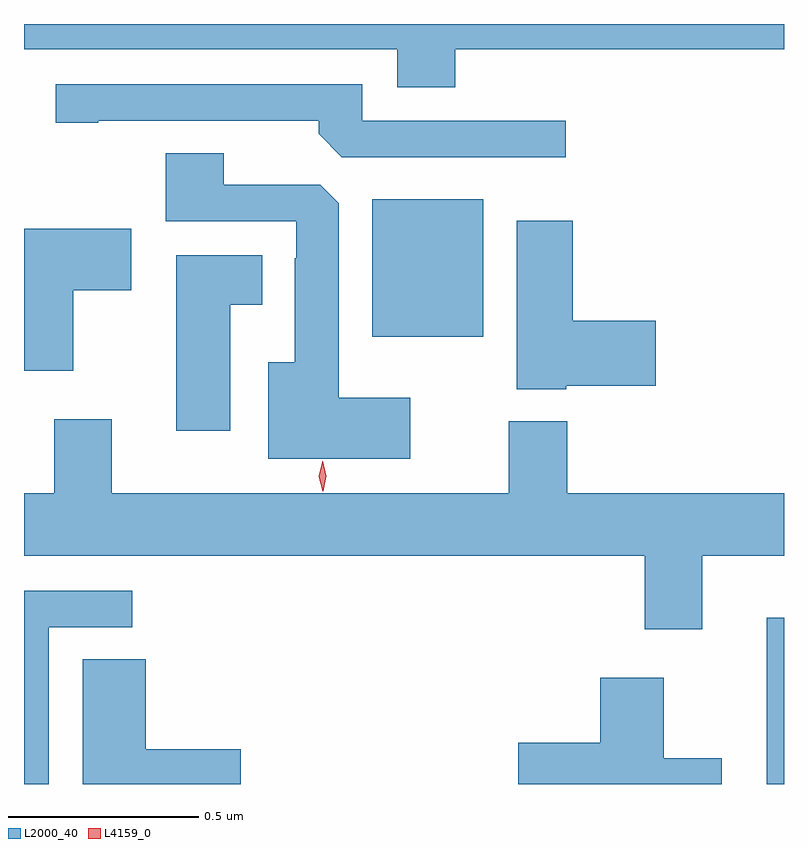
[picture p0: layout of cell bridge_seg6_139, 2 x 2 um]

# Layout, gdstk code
import gdstk
lib = gdstk.Library(unit=1e-6, precision=1e-09)
def R(c, l, rs):  # rectangles x0, y0, x1, y1
    for r in rs: c.add(gdstk.rectangle(r[:2], r[2:], *l))
def P(c, l, *ps):  # polygons
    for p in ps: c.add(gdstk.Polygon(p, *l))
L2000_40 = (2000, 40)
L4159_0 = (4159, 0)

bridge_seg6_139 = lib.new_cell('bridge_seg6_139')
R(bridge_seg6_139, L2000_40, [(420.419,966.715,420.465,967.153), (419.381,967.892,419.674,968.254)])
P(bridge_seg6_139, L2000_40, [(419.6,968.648),(420.465,968.648),(420.465,968.715),(418.465,968.715),(418.465,968.648),(419.447,968.648),(419.447,968.549),(419.6,968.549)],
  [(419.89,968.46),(419.355,968.46),(419.355,968.556),(418.548,968.556),(418.548,968.455),(418.66,968.455),(418.66,968.46),(419.24,968.46),(419.24,968.426),(419.301,968.364),(419.89,968.364)],
  [(419.482,967.732),(419.293,967.732),(419.293,968.243),(419.244,968.292),(418.99,968.292),(418.99,968.375),(418.838,968.375),(418.838,968.196),(419.181,968.196),(419.181,968.099),(419.177,968.099),(419.177,967.825),(419.108,967.825),(419.108,967.571),(419.482,967.571)],
  [(419.892,967.763),(420.127,967.763),(420.127,967.934),(419.909,967.934),(419.909,968.197),(419.762,968.197),(419.762,967.754),(419.892,967.754)],
  [(418.594,968.014),(418.747,968.014),(418.747,968.176),(418.465,968.176),(418.465,967.803),(418.594,967.803)],
  [(419.008,967.976),(419.092,967.976),(419.092,968.107),(418.865,968.107),(418.865,967.644),(419.008,967.644)],
  [(420.25,967.316),(420.465,967.316),(420.465,967.48),(419.894,967.48),(419.894,967.669),(419.741,967.669),(419.741,967.48),(418.696,967.48),(418.696,967.675),(418.544,967.675),(418.544,967.48),(418.465,967.48),(418.465,967.316),(420.098,967.316),(420.098,967.122),(420.25,967.122)],
  [(418.53,967.128),(418.75,967.128),(418.75,967.224),(418.465,967.224),(418.465,966.715),(418.53,966.715)],
  [(419.035,966.806),(418.786,966.806),(418.786,967.043),(418.619,967.043),(418.619,966.715),(419.035,966.715)],
  [(420.301,966.783),(420.148,966.783),(420.148,966.994),(419.981,966.994),(419.981,966.824),(419.766,966.824),(419.766,966.715),(420.301,966.715)])
P(bridge_seg6_139, L4159_0, [(419.251,967.485),(419.251,967.485),(419.241,967.525),(419.251,967.566),(419.251,967.566),(419.251,967.566),(419.261,967.525),(419.252,967.485)])

lib.write_gds('bridge_seg6_139.gds')
